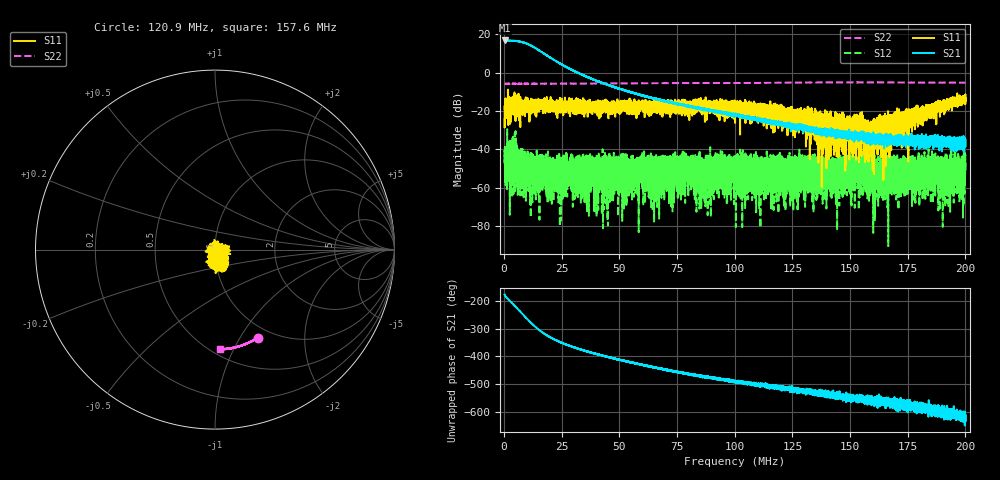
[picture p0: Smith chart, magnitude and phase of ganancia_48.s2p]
# Hz S DB R 50
! CMT, M5065, 19127446, 24.2.4/2
! Date: 11/8/2024 4:13:09 PM
! Data: Format (Calibration Info)
! Freq	S11:dB/Ang(F2)	S21:dB/Ang(F2)	S12:dB/Ang(F2)	S22:dB/Ang(F2)
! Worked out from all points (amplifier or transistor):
!   9000 points, 300 kHz to 200 MHz, reference 50 ohm
!   highest |S21| = 16.8 dB at 388.8 kHz (marker M1)
!   |S21| within 3 dB of that: start of sweep to 12.18 MHz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
!   unconditionally stable (mu >= 1): start of sweep to end of sweep
!   at 33.59 MHz: K = 168.62, MAG = 0.6 dB, |S12| = -52.6 dB
!   at 100.2 MHz: K = 1846.12, MAG = -20.6 dB, |S12| = -52.2 dB
!   at 200 MHz: K = 6954.36, MAG = -36.6 dB, |S12| = -48.0 dB
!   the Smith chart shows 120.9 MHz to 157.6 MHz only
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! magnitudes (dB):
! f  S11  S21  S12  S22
! 300 kHz  -24.2  16.7  -46.6  -5.8
! 388.8 kHz  -17.8  16.8  -41.1  -5.8
! 1.365 MHz  -19.3  16.7  -52.1  -5.8
! 4.694 MHz  -16.7  16.5  -39.2  -5.8
! 6.647 MHz  -14.4  16.2  -47.5  -5.8
! 10.44 MHz  -15.2  14.8  -46.6  -5.8
! 33.59 MHz  -16.2  -0.9  -52.6  -5.7
! 61.68 MHz  -18.6  -12.4  -53.6  -5.5
! 66.87 MHz  -19.2  -14.1  -61.1  -5.5
! 72.29 MHz  -14.3  -15.4  -51.0  -5.5
! 74.13 MHz  -15.8  -16.1  -47.0  -5.5
! 86.49 MHz  -17.0  -19.0  -61.2  -5.4
! 100.2 MHz  -22.8  -22.1  -52.2  -5.4
! 133.4 MHz  -24.1  -28.2  -54.5  -5.1
! 150.5 MHz  -29.5  -31.9  -52.1  -5.1
! 155 MHz  -26.2  -33.7  -46.5  -5.1
! 159 MHz  -25.5  -33.9  -42.2  -5.1
! 166.7 MHz  -21.9  -33.5  -50.9  -5.1
! 185.6 MHz  -18.9  -36.3  -47.6  -5.2
! 189.7 MHz  -17.6  -35.4  -49.4  -5.3
! 198.2 MHz  -15.2  -35.8  -63.3  -5.3
! 200 MHz  -14.7  -38.3  -48.0  -5.3
